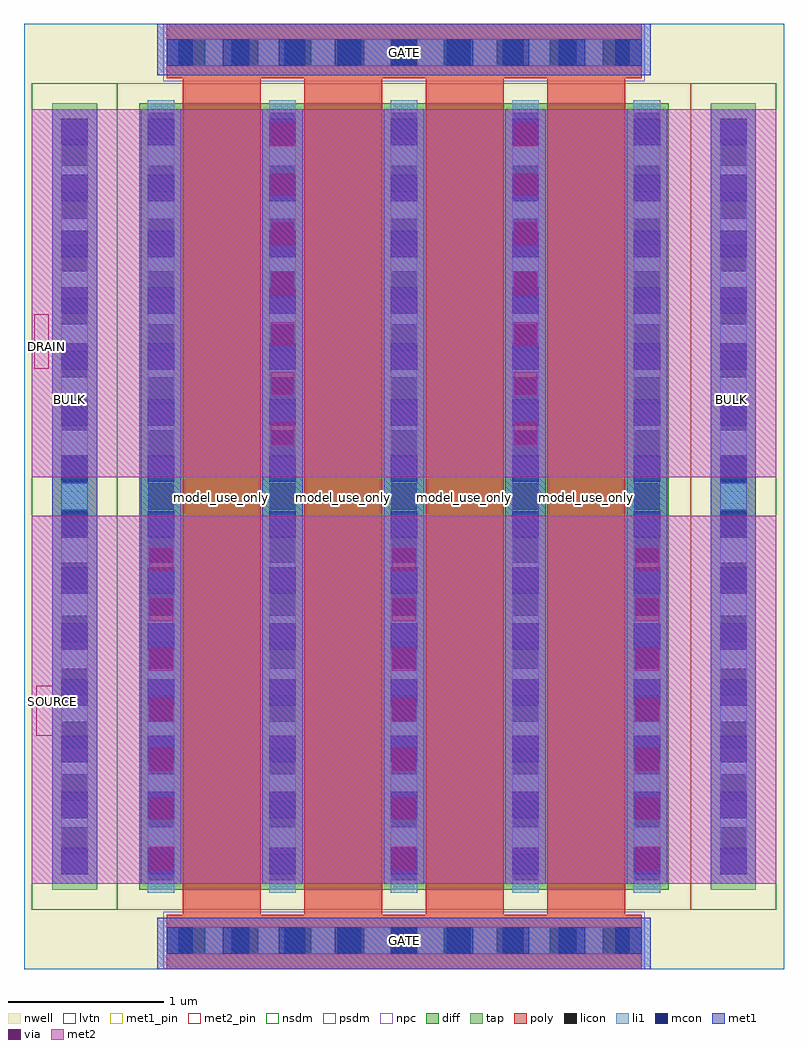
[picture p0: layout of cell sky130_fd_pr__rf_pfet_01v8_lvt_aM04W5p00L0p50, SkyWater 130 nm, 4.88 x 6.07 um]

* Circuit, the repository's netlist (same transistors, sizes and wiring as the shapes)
* Copyright 2020 The SkyWater PDK Authors
*
* Licensed under the Apache License, Version 2.0 (the "License");
* you may not use this file except in compliance with the License.
* You may obtain a copy of the License at
*
*     https://www.apache.org/licenses/LICENSE-2.0
*
* Unless required by applicable law or agreed to in writing, software
* distributed under the License is distributed on an "AS IS" BASIS,
* WITHOUT WARRANTIES OR CONDITIONS OF ANY KIND, either express or implied.
* See the License for the specific language governing permissions and
* limitations under the License.
*
* SPDX-License-Identifier: Apache-2.0


.subckt sky130_fd_pr__rf_pfet_01v8_lvt_aM04W5p00L0p50 BULK DRAIN GATE SOURCE
X0 DRAIN GATE SOURCE BULK sky130_fd_pr__pfet_01v8_lvt w=5.05e+06u l=500000u
X1 SOURCE GATE DRAIN BULK sky130_fd_pr__pfet_01v8_lvt w=5.05e+06u l=500000u
X2 DRAIN GATE SOURCE BULK sky130_fd_pr__pfet_01v8_lvt w=5.05e+06u l=500000u
X3 SOURCE GATE DRAIN BULK sky130_fd_pr__pfet_01v8_lvt w=5.05e+06u l=500000u
.ends

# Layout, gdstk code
import gdstk
lib = gdstk.Library(unit=1e-6, precision=1e-09)
def R(c, l, rs):  # rectangles x0, y0, x1, y1
    for r in rs: c.add(gdstk.rectangle(r[:2], r[2:], *l))
def A(c, l, x, y, w, h, nx, ny, dx, dy):  # array of equal rectangles
    R(c, l, [(x+i*dx, y+j*dy, x+i*dx+w, y+j*dy+h) for i in range(nx) for j in range(ny)])
nwell = (64, 20)
diff = (65, 20)
tap = (65, 44)
poly = (66, 20)
licon = (66, 44)
li1 = (67, 20)
mcon = (67, 44)
met1_pin = (68, 16)
met1 = (68, 20)
via = (68, 44)
met2_pin = (69, 16)
met2 = (69, 20)
nsdm = (93, 44)
psdm = (94, 20)
npc = (95, 20)
lvtn = (125, 44)

sky130_fd_pr__rf_pfet_01 = lib.new_cell('sky130_fd_pr__rf_pfet_01v8_lvt_aM04W5p00L0p50')
R(sky130_fd_pr__rf_pfet_01, nwell, [(0,0,4.88,6.07)])
R(sky130_fd_pr__rf_pfet_01, diff, [(0.74,0.51,4.14,5.56)])
R(sky130_fd_pr__rf_pfet_01, tap, [(0.18,0.51,0.47,5.56), (4.41,0.51,4.7,5.56)])
A(sky130_fd_pr__rf_pfet_01, poly, 1.02, 0.35, 0.5, 5.37, 4, 1, 0.78, 0)
R(sky130_fd_pr__rf_pfet_01, poly, [(0.915,0,3.965,0.35), (0.915,5.72,3.965,6.07)])
A(sky130_fd_pr__rf_pfet_01, licon, 0.995, 0.1, 0.17, 0.17, 9, 2, 0.34, 5.7)
A(sky130_fd_pr__rf_pfet_01, licon, 0.795, 0.57, 0.17, 0.17, 5, 15, 0.78, 0.34)
A(sky130_fd_pr__rf_pfet_01, licon, 0.24, 0.74, 0.17, 0.17, 1, 14, 0, 0.34)
A(sky130_fd_pr__rf_pfet_01, licon, 4.47, 0.74, 0.17, 0.17, 1, 14, 0, 0.34)
A(sky130_fd_pr__rf_pfet_01, li1, 0.795, 0.49, 0.17, 5.09, 5, 1, 0.78, 0)
A(sky130_fd_pr__rf_pfet_01, li1, 0.795, 1.69, 0.17, 2.69, 5, 1, 0.78, 0)
R(sky130_fd_pr__rf_pfet_01, li1, [(0.915,0.1,3.965,0.27), (0.24,0.61,0.41,5.46), (4.47,0.61,4.64,5.46), (0.24,0.66,0.41,5.41), (4.47,0.66,4.64,5.41), (0.24,1.68,0.41,4.39), (4.47,1.68,4.64,4.39), (0.915,5.8,3.965,5.97)])
A(sky130_fd_pr__rf_pfet_01, mcon, 0.915, 0.1, 0.17, 0.17, 9, 2, 0.36, 5.7)
A(sky130_fd_pr__rf_pfet_01, mcon, 0.24, 0.61, 0.17, 0.17, 1, 14, 0, 0.36)
A(sky130_fd_pr__rf_pfet_01, mcon, 0.795, 0.61, 0.17, 0.17, 5, 14, 0.78, 0.36)
A(sky130_fd_pr__rf_pfet_01, mcon, 4.47, 0.61, 0.17, 0.17, 1, 14, 0, 0.36)
R(sky130_fd_pr__rf_pfet_01, met1_pin, [(0.855,0,4.025,0.33), (0.235,2.99,0.405,3.07), (4.485,2.99,4.655,3.07), (0.855,5.74,4.025,6.07)])
A(sky130_fd_pr__rf_pfet_01, met1, 0.75, 0.55, 0.26, 2.24, 3, 1, 1.56, 0)
A(sky130_fd_pr__rf_pfet_01, met1, 0.75, 0.55, 0.26, 4.97, 5, 1, 0.78, 0)
R(sky130_fd_pr__rf_pfet_01, met1, [(0.855,0,4.025,0.33), (0.18,0.55,0.47,5.52), (4.41,0.55,4.7,5.52), (1.53,3.28,1.79,5.52), (3.09,3.28,3.35,5.52), (0.855,5.74,4.025,6.07)])
A(sky130_fd_pr__rf_pfet_01, via, 0.805, 0.635, 0.15, 0.15, 3, 7, 1.56, 0.32)
A(sky130_fd_pr__rf_pfet_01, via, 1.585, 3.365, 0.15, 0.15, 1, 7, 0, 0.32)
A(sky130_fd_pr__rf_pfet_01, via, 3.145, 3.365, 0.15, 0.15, 1, 7, 0, 0.32)
R(sky130_fd_pr__rf_pfet_01, met2_pin, [(0.08,1.5,0.185,1.82), (0.065,3.855,0.16,4.205)])
A(sky130_fd_pr__rf_pfet_01, met2, 0.75, 0.55, 0.26, 2.24, 3, 1, 1.56, 0)
R(sky130_fd_pr__rf_pfet_01, met2, [(0.05,0.55,4.83,2.91), (0.05,3.16,4.83,5.52), (1.53,3.28,1.79,5.52), (3.09,3.28,3.35,5.52)])
R(sky130_fd_pr__rf_pfet_01, nsdm, [(0.05,0.38,0.6,5.69), (4.28,0.38,4.83,5.69)])
R(sky130_fd_pr__rf_pfet_01, psdm, [(0.6,0.38,4.28,5.69)])
R(sky130_fd_pr__rf_pfet_01, npc, [(0.895,0,3.985,0.37), (0.895,5.7,3.985,6.07)])
R(sky130_fd_pr__rf_pfet_01, lvtn, [(0,0,4.88,6.07)])
sky130_fd_pr__rf_pfet_01.add(gdstk.Label('model_use_only', (2.05,3.03), layer=66, texttype=83))
sky130_fd_pr__rf_pfet_01.add(gdstk.Label('model_use_only', (1.27,3.03), layer=66, texttype=83))
sky130_fd_pr__rf_pfet_01.add(gdstk.Label('model_use_only', (2.83,3.03), layer=66, texttype=83))
sky130_fd_pr__rf_pfet_01.add(gdstk.Label('model_use_only', (3.61,3.03), layer=66, texttype=83))
sky130_fd_pr__rf_pfet_01.add(gdstk.Label('DRAIN', (0.145,4), layer=69, texttype=5))
sky130_fd_pr__rf_pfet_01.add(gdstk.Label('SOURCE', (0.185,1.72), layer=69, texttype=5))
sky130_fd_pr__rf_pfet_01.add(gdstk.Label('BULK', (0.29,3.66), layer=68, texttype=5))
sky130_fd_pr__rf_pfet_01.add(gdstk.Label('BULK', (4.54,3.66), layer=68, texttype=5))
sky130_fd_pr__rf_pfet_01.add(gdstk.Label('GATE', (2.44,5.885), layer=68, texttype=5))
sky130_fd_pr__rf_pfet_01.add(gdstk.Label('GATE', (2.44,0.185), layer=68, texttype=5))

lib.write_gds('sky130_fd_pr__rf_pfet_01v8_lvt_aM04W5p00L0p50.gds')
